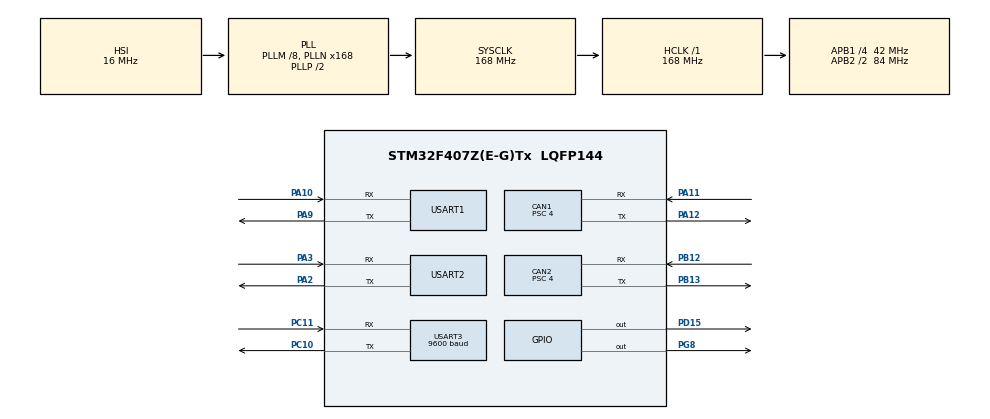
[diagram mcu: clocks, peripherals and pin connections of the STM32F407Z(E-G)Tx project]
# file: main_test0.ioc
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CAN1.BS1=CAN_BS1_12TQ
CAN1.BS2=CAN_BS2_8TQ
CAN1.CalculateBaudRate=500000
CAN1.CalculateTimeBit=2000
CAN1.CalculateTimeQuantum=95.23809523809524
CAN1.NART=ENABLE
CAN1.Prescaler=4
CAN2.BS1=CAN_BS1_12TQ
CAN2.BS2=CAN_BS2_8TQ
CAN2.CalculateBaudRate=500000
CAN2.CalculateTimeBit=2000
CAN2.CalculateTimeQuantum=95.23809523809524
CAN2.NART=ENABLE
CAN2.Prescaler=4
Mcu.Family=STM32F4
Mcu.Name=STM32F407Z(E-G)Tx
Mcu.Package=LQFP144
NVIC.CAN1_RX0_IRQn=true\:0\:0\:true\:false\:true\:true\:true\:true
NVIC.CAN1_RX1_IRQn=true\:0\:0\:false\:false\:true\:true\:true\:true
NVIC.CAN1_TX_IRQn=true\:0\:0\:false\:false\:true\:true\:true\:true
NVIC.CAN2_RX0_IRQn=true\:0\:0\:false\:false\:true\:true\:true\:true
NVIC.CAN2_RX1_IRQn=true\:0\:0\:false\:false\:true\:true\:true\:true
NVIC.CAN2_TX_IRQn=true\:0\:0\:false\:false\:true\:true\:true\:true
NVIC.FPU_IRQn=true\:0\:0\:true\:false\:true\:true\:false\:true
NVIC.PriorityGroup=NVIC_PRIORITYGROUP_1
NVIC.TIM2_IRQn=true\:0\:0\:false\:false\:true\:true\:true\:true
NVIC.TIM3_IRQn=true\:0\:0\:false\:false\:true\:true\:true\:true
NVIC.USART1_IRQn=true\:0\:0\:false\:false\:true\:true\:true\:true
NVIC.USART2_IRQn=true\:0\:0\:false\:false\:true\:true\:true\:true
NVIC.USART3_IRQn=true\:0\:0\:false\:false\:true\:true\:true\:true
PA10.Mode=Asynchronous
PA10.Signal=USART1_RX
PA11.Mode=CAN_Activate
PA11.Signal=CAN1_RX
PA12.Mode=CAN_Activate
PA12.Signal=CAN1_TX
PA13.Mode=Serial_Wire
PA13.Signal=SYS_JTMS-SWDIO
PA14.Mode=Serial_Wire
PA14.Signal=SYS_JTCK-SWCLK
PA2.Mode=Asynchronous
PA2.Signal=USART2_TX
PA3.Mode=Asynchronous
PA3.Signal=USART2_RX
PA9.Mode=Asynchronous
PA9.Signal=USART1_TX
PB12.Mode=CAN_Activate
PB12.Signal=CAN2_RX
PB13.Mode=CAN_Activate
PB13.Signal=CAN2_TX
PC10.Mode=Asynchronous
PC10.Signal=USART3_TX
PC11.Mode=Asynchronous
PC11.Signal=USART3_RX
PC14-OSC32_IN.Mode=LSE-External-Oscillator
PC14-OSC32_IN.Signal=RCC_OSC32_IN
PC15-OSC32_OUT.Mode=LSE-External-Oscillator
PC15-OSC32_OUT.Signal=RCC_OSC32_OUT
PD15.PinState=GPIO_PIN_SET
PD15.Signal=GPIO_Output
PG8.Signal=GPIO_Output
PH0-OSC_IN.Mode=HSE-External-Oscillator
PH0-OSC_IN.Signal=RCC_OSC_IN
PH1-OSC_OUT.Mode=HSE-External-Oscillator
PH1-OSC_OUT.Signal=RCC_OSC_OUT
ProjectManager.HeapSize=0x200
ProjectManager.StackSize=0x400
ProjectManager.TargetToolchain=MDK-ARM V5.32
RCC.48MHZClocksFreq_Value=84000000
RCC.AHBFreq_Value=168000000
RCC.APB1CLKDivider=RCC_HCLK_DIV4
RCC.APB1Freq_Value=42000000
RCC.APB1TimFreq_Value=84000000
RCC.APB2CLKDivider=RCC_HCLK_DIV2
RCC.APB2Freq_Value=84000000
RCC.APB2TimFreq_Value=168000000
RCC.CortexFreq_Value=168000000
RCC.HCLKFreq_Value=168000000
RCC.HSE_VALUE=25000000
RCC.HSI_VALUE=16000000
RCC.PLLM=8
RCC.PLLN=168
RCC.SYSCLKFreq_VALUE=168000000
RCC.SYSCLKSource=RCC_SYSCLKSOURCE_PLLCLK
RCC.VCOOutputFreq_Value=336000000
TIM2.AutoReloadPreload=TIM_AUTORELOAD_PRELOAD_ENABLE
TIM2.Period=4999
TIM2.Prescaler=8399
TIM3.AutoReloadPreload=TIM_AUTORELOAD_PRELOAD_ENABLE
TIM3.Period=4999
TIM3.Prescaler=8399
USART1.VirtualMode=VM_ASYNC
USART2.VirtualMode=VM_ASYNC
USART3.BaudRate=9600
USART3.VirtualMode=VM_ASYNC
VP_TIM2_VS_ClockSourceINT.Mode=Internal
VP_TIM3_VS_ClockSourceINT.Mode=Internal
board=custom

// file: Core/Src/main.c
/* USER CODE BEGIN Header */
/**
  ******************************************************************************
  * @file           : main.c
  * @brief          : Main program body
  ******************************************************************************
  * @attention
  *
  * Copyright (c) 2023 STMicroelectronics.
  * All rights reserved.
  *
  * This software is licensed under terms that can be found in the LICENSE file
  * in the root directory of this software component.
  * If no LICENSE file comes with this software, it is provided AS-IS.
  *
  ******************************************************************************
  */
/* USER CODE END Header */
#include "main.h"
#include <stdio.h>
#include "can.h"
#include "tim.h"
#include "usart.h"
#include "gpio.h"
#include "rs485.h"

void SystemClock_Config(void);

/* USER CODE BEGIN 0 */
char Buff[255];//存储数据
uint8_t Data;	//暂存数据
int Cnt = 0;	//计数

/* 回调函数 */
void HAL_UART_RxCpltCallback(UART_HandleTypeDef *huart)
{
	if(huart == &huart1)
	{
			Buff[Cnt++] = (char)Data;
			if(Buff[Cnt-1] == 0x0A && Buff[Cnt-2] == 0x0D)//判断是否为回车结尾
			{
				printf("\n接收到的数据为：\n");
				HAL_UART_Transmit_IT(&huart1, (uint8_t *)Buff, Cnt);//显示在串口助手
				HAL_UART_Transmit_IT(&huart3, (uint8_t *)Buff, Cnt);//发送给蓝牙
				Cnt = 0;
			}
		HAL_UART_Receive_IT(&huart1, &Data, sizeof(Data));//继续接收数据
	}
	if(huart ->Instance == USART2)
    {
        //将接收到的数据打印
        printf("RX Data[0]:0x%02x\r\n", Buff[0]);
        printf("RX Data[1]:0x%02x\r\n", Buff[1]);
        printf("RX Data[2]:0x%02x\r\n", Buff[2]);
        printf("RX Data[3]:0x%02x\r\n", Buff[3]);

        //重新使能串口接收中断
        HAL_UART_Receive_IT(&RS485_USART, &Data, 4);
    }
	if(huart == &huart3)
	{
			Buff[Cnt++] = (char)Data;
			if(Buff[Cnt-1] == 0x0A && Buff[Cnt-2] == 0x0D)//判断是否为回车结尾
			{
				printf("\n蓝牙返回的数据为：\n");
				HAL_UART_Transmit_IT(&huart1, (uint8_t *)Buff, Cnt);//显示在串口助手
				Cnt = 0;
			}
		HAL_UART_Receive_IT(&huart3, &Data, sizeof(Data));//继续接收数据
	}
}
/* USER CODE END 0 */
/**
* @breif   初始化RS485收发器为接收模式
* @param   无
* @retval  无
* @note    在调用此函数之前，确保已经初始化通信串口和控制GPIO
*/
void RS485_Init()
{
    /* 使能串口接收中断 */
    HAL_UART_Receive_IT(&RS485_USART, &Data, 4);

    RS485_RX_ENABLE();
}
/**
* @breif   控制RS485收发器发送数据
* @param   data 要发送的数据
* @param   len  要发送数据的长度
* @retval  0 - 发送成功，-1 = 发送失败
*/
int RS485_Transmit(uint8_t *data, uint16_t len)
{
    HAL_StatusTypeDef status;

    RS485_TX_ENABLE();

    status = HAL_UART_Transmit(&RS485_USART, data, len, 0xFFFF);

    HAL_Delay(1);

    RS485_RX_ENABLE();

    return status == HAL_OK ? 0 : -1;
}

int main(void)
{
  /* USER CODE BEGIN 1 */
uint8_t data[4];
  /* USER CODE END 1 */

  /* MCU Configuration--------------------------------------------------------*/

  /* Reset of all peripherals, Initializes the Flash interface and the Systick. */
  HAL_Init();

  /* Configure the system clock */
  SystemClock_Config();

  /* Initialize all configured peripherals */
  MX_GPIO_Init();
  MX_CAN1_Init();
  MX_CAN2_Init();
  MX_USART1_UART_Init();
  MX_TIM2_Init();
  MX_TIM3_Init();
  MX_USART3_UART_Init();
  MX_USART2_UART_Init();
  /* USER CODE BEGIN 2 */
printf("-----RS485 1# Board ------\r\n");

RS485_Init();
  /* USER CODE END 2 */

  /* Infinite loop */
  /* USER CODE BEGIN WHILE */
HAL_UART_Receive_IT(&huart1, &Data, sizeof(Data));//开启中断接收数据
HAL_UART_Receive_IT(&huart3, &Data, sizeof(Data));//开启中断接收数据

  while (1)
  {
    /* USER CODE END WHILE */

    /* USER CODE BEGIN 3 */
		RS485_Transmit(data,4);

		HAL_Delay(5000);
  }
  /* USER CODE END 3 */
}

void SystemClock_Config(void)
{
  RCC_OscInitTypeDef RCC_OscInitStruct = {0};
  RCC_ClkInitTypeDef RCC_ClkInitStruct = {0};

  /** Configure the main internal regulator output voltage
  */
  __HAL_RCC_PWR_CLK_ENABLE();
  __HAL_PWR_VOLTAGESCALING_CONFIG(PWR_REGULATOR_VOLTAGE_SCALE1);

  /** Initializes the RCC Oscillators according to the specified parameters
  * in the RCC_OscInitTypeDef structure.
  */
  RCC_OscInitStruct.OscillatorType = RCC_OSCILLATORTYPE_HSI;
  RCC_OscInitStruct.HSIState = RCC_HSI_ON;
  RCC_OscInitStruct.HSICalibrationValue = RCC_HSICALIBRATION_DEFAULT;
  RCC_OscInitStruct.PLL.PLLState = RCC_PLL_ON;
  RCC_OscInitStruct.PLL.PLLSource = RCC_PLLSOURCE_HSI;
  RCC_OscInitStruct.PLL.PLLM = 8;
  RCC_OscInitStruct.PLL.PLLN = 168;
  RCC_OscInitStruct.PLL.PLLP = RCC_PLLP_DIV2;
  RCC_OscInitStruct.PLL.PLLQ = 4;
  if (HAL_RCC_OscConfig(&RCC_OscInitStruct) != HAL_OK)
  {
    Error_Handler();
  }

  /** Initializes the CPU, AHB and APB buses clocks
  */
  RCC_ClkInitStruct.ClockType = RCC_CLOCKTYPE_HCLK|RCC_CLOCKTYPE_SYSCLK
                              |RCC_CLOCKTYPE_PCLK1|RCC_CLOCKTYPE_PCLK2;
  RCC_ClkInitStruct.SYSCLKSource = RCC_SYSCLKSOURCE_PLLCLK;
  RCC_ClkInitStruct.AHBCLKDivider = RCC_SYSCLK_DIV1;
  RCC_ClkInitStruct.APB1CLKDivider = RCC_HCLK_DIV4;
  RCC_ClkInitStruct.APB2CLKDivider = RCC_HCLK_DIV2;

  if (HAL_RCC_ClockConfig(&RCC_ClkInitStruct, FLASH_LATENCY_5) != HAL_OK)
  {
    Error_Handler();
  }
}

void Error_Handler(void)
{
  __disable_irq();
  while (1)
  {
  }
}
